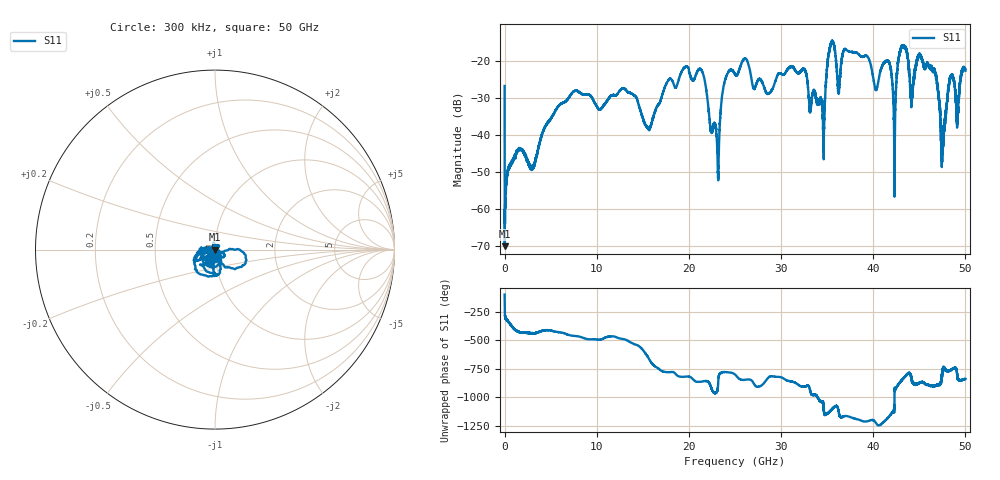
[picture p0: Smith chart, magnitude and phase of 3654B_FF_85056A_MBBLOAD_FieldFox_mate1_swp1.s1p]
!Created with skrf (http://scikit-rf.org).
# Hz S RI R 50.0
!freq ReS11 ImS11
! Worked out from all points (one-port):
!   10001 points, 300 kHz to 50 GHz, reference 50 ohm
!   lowest |S11| = -70.0 dB at 20.3 MHz (marker M1), VSWR 1.00, Z = 50 + j0.0169 ohm
!   |S11| at or under -10 dB: start of sweep to end of sweep
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300000  -0.00669 -0.0453
2.029988e7  -0.000265 0.000169
2.552985e8  0.00208 0.00162
3.000282e9  0.000574 -0.00359
6.250262e9  0.0078 -0.0257
1.250022e10  -0.0223 -0.0331
1.562521e10  0.00554 0.0106
1.875019e10  -0.000916 -0.0486
2.135517e10  -0.0611 -0.0448
2.309516e10  -0.00449 0.00301
2.388516e10  0.0273 -0.046
2.500015e10  0.011 -0.0652
3.125011e10  -0.0665 -0.0488
3.451509e10  0.0146 0.0112
3.542009e10  0.1471 -0.0953
3.624008e10  0.0278 -0.025
3.750008e10  -0.00978 -0.1323
4.029506e10  -0.0339 -0.0224
4.162005e10  -0.0158 -0.0982
4.228005e10  0.00557 -0.00161
4.295504e10  -0.1178 -0.08
4.375004e10  0.0416 -0.1108
4.417503e10  -0.0222 -0.0267
4.660002e10  -0.079 0.00262
4.755501e10  0.00468 -0.00492
4.838001e10  0.0437 -0.0416
4.912501e10  0.00373 -0.0165
5e10  -0.0362 -0.064
